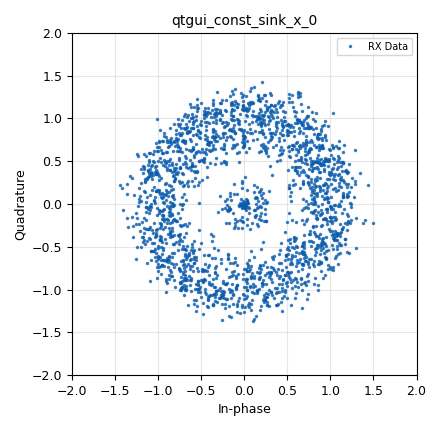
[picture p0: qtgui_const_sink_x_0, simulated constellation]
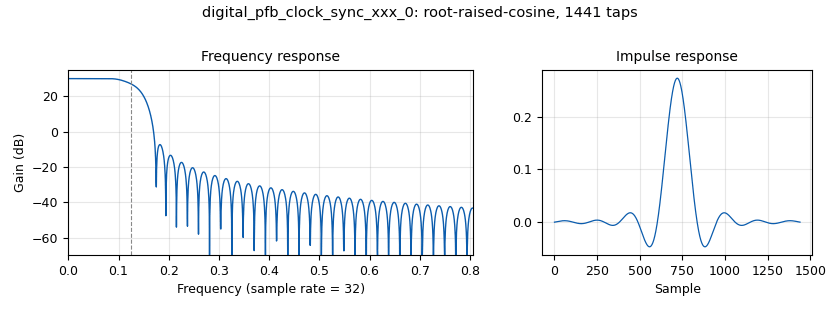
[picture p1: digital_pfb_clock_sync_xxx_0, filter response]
options:
  parameters:
    category: Custom
    generate_options: qt_gui
    id: mpsk_stage3
    output_language: python
  states: {}

blocks:
- name: arity
  id: variable
  parameters:
    value: '4'
  states: {}
- name: excess_bw
  id: variable
  parameters:
    value: '0.35'
  states: {}
- name: freq_offset
  id: variable_qtgui_range
  parameters:
    gui_hint: 0,1,1,1
    label: Frequency Offset
    orient: Qt.Horizontal
    start: '-0.1'
    step: '0.0001'
    stop: '0.1'
    value: '0.05'
  states: {}
- name: nfilts
  id: variable
  parameters:
    value: '32'
  states: {}
- name: noise_volt
  id: variable_qtgui_range
  parameters:
    gui_hint: 0,0,1,1
    label: Noise Voltage
    orient: Qt.Vertical
    start: '0'
    step: '0.01'
    stop: '1'
    value: '0.0001'
  states: {}
- name: qpsk
  id: variable_constellation_rect
  parameters:
    const_points: '[0.707+0.707j, -0.707+0.707j, -0.707-0.707j, 0.707-0.707j]'
    imag_sect: '2'
    real_sect: '2'
    rot_sym: '4'
    sym_map: '[0, 1, 2, 3]'
    w_imag_sect: '1'
    w_real_sect: '1'
  states: {}
- name: rrc_taps
  id: variable
  parameters:
    value: firdes.root_raised_cosine(nfilts, nfilts, 1.0/float(sps), 0.35, 45*nfilts)
  states: {}
- name: samp_rate
  id: variable
  parameters:
    value: '32000'
  states: {}
- name: sps
  id: variable
  parameters:
    value: '4'
  states: {}
- name: taps
  id: variable
  parameters:
    value: '[1.0, 0.25-0.25j, 0.50 + 0.10j, -0.3 + 0.2j]'
  states: {state: disabled}
- name: taps
  id: variable
  parameters:
    value: '[1.0 + 0.0j, ]'
  states: {}
- name: time_offset
  id: variable_qtgui_range
  parameters:
    gui_hint: 0,2,1,1
    label: Timing Offset
    orient: Qt.Horizontal
    start: '0.999'
    step: '0.0001'
    stop: '1.001'
    value: '1.00'
  states: {}
- name: timing_loop_bw
  id: variable_qtgui_range
  parameters:
    gui_hint: 0,3,1,1
    label: 'Time: BW'
    orient: Qt.Horizontal
    start: '0.0'
    step: '0.01'
    stop: '0.2'
    value: 6.28/100.0
    widget: slider
  states: {}
- name: analog_random_source_x_0
  id: analog_random_source_x
  parameters:
    max: '256'
    min: '0'
    num_samps: '10000'
    repeat: 'True'
    type: byte
  states: {}
- name: blocks_multiply_conjugate_cc_0
  id: blocks_multiply_conjugate_cc
  parameters: {}
  states: {}
- name: blocks_throttle_0
  id: blocks_throttle
  parameters:
    samples_per_second: samp_rate
    type: complex
  states: {}
- name: channels_channel_model_0
  id: channels_channel_model
  parameters:
    epsilon: time_offset
    freq_offset: freq_offset
    noise_voltage: noise_volt
    seed: '0'
    taps: taps
  states: {}
- name: digital_constellation_modulator_0
  id: digital_constellation_modulator
  parameters:
    constellation: qpsk
    differential: 'True'
    excess_bw: excess_bw
    samples_per_symbol: sps
  states: {}
- name: digital_pfb_clock_sync_xxx_0
  id: digital_pfb_clock_sync_xxx
  parameters:
    filter_size: nfilts
    init_phase: nfilts/2
    loop_bw: timing_loop_bw
    max_dev: '1.5'
    osps: '1'
    sps: sps*1.001
    taps: rrc_taps
    type: ccf
  states: {}
- name: pll_sdrpll_0
  id: pll_sdrpll
  parameters:
    a2: '0'
    a3: '0'
    b3: '0'
    bw_hz: '50'
    custom_params: 'False'
    detector_type: '2'
    filt_order: '3'
    k_d: '1'
    k_o: '1'
    nco_base_freq_hz: samp_rate*freq_offset
    period: 1/samp_rate
    w0: '0'
  states: {}
- name: qtgui_const_sink_x_0
  id: qtgui_const_sink_x
  parameters:
    alpha1: '0.5'
    gui_hint: 1,0,1,2
    label1: RX Data
    name: ''
    size: '2048'
    type: complex
  states: {}
- name: qtgui_const_sink_x_0_0
  id: qtgui_const_sink_x
  parameters:
    alpha1: '0.5'
    gui_hint: 1,2,1,2
    label1: Timing Recov.
    name: ''
    size: '2048'
    type: complex
  states: {}
- name: qtgui_const_sink_x_0_1
  id: qtgui_const_sink_x
  parameters:
    autoscale: 'True'
    nconnections: '2'
    size: '1024'
    type: complex
  states: {state: disabled}
- name: qtgui_freq_sink_x_0
  id: qtgui_freq_sink_x
  parameters:
    bw: samp_rate
    fc: '0'
    fftsize: '1024'
    nconnections: '2'
    type: complex
    wintype: firdes.WIN_BLACKMAN_hARRIS
  states: {state: disabled}

connections:
- [analog_random_source_x_0, '0', digital_constellation_modulator_0, '0']
- [blocks_multiply_conjugate_cc_0, '0', digital_pfb_clock_sync_xxx_0, '0']
- [blocks_throttle_0, '0', channels_channel_model_0, '0']
- [channels_channel_model_0, '0', blocks_multiply_conjugate_cc_0, '0']
- [channels_channel_model_0, '0', pll_sdrpll_0, '0']
- [channels_channel_model_0, '0', qtgui_const_sink_x_0, '0']
- [digital_constellation_modulator_0, '0', blocks_throttle_0, '0']
- [digital_pfb_clock_sync_xxx_0, '0', qtgui_const_sink_x_0_0, '0']
- [digital_pfb_clock_sync_xxx_0, '0', qtgui_const_sink_x_0_1, '0']
- [pll_sdrpll_0, '0', blocks_multiply_conjugate_cc_0, '1']
- [pll_sdrpll_0, '0', qtgui_freq_sink_x_0, '1']

metadata:
  file_format: 1
